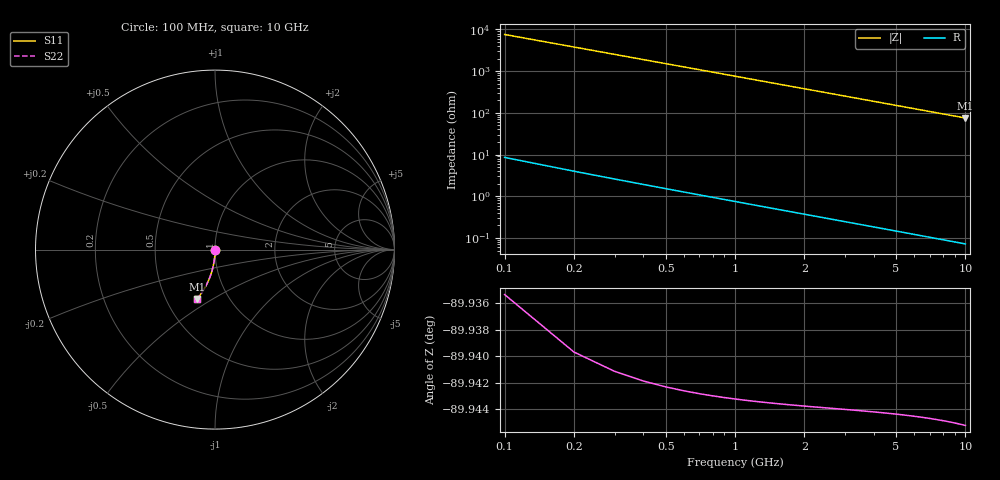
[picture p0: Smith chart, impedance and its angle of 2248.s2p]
# Hz S RI R 50.00
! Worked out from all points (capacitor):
!   100 points, 100 MHz to 10 GHz, reference 50 ohm
!   read as one part in shunt: C = 210 fF near 100 MHz
!   lowest |Z| = 75.4 ohm at 10 GHz (marker M1)
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1e8  6.35e-05 -0.00304  0.9999 -0.00355  0.9999 -0.00355  6.35e-05 -0.00304
2e8  2.84e-05 -0.00608  0.9999 -0.0071  0.9999 -0.0071  2.84e-05 -0.00608
3e8  -2.84e-05 -0.00912  0.9998 -0.0106  0.9998 -0.0106  -2.84e-05 -0.00912
4e8  -0.000107 -0.0122  0.9997 -0.0142  0.9997 -0.0142  -0.000107 -0.0122
5e8  -0.000207 -0.0152  0.9996 -0.0177  0.9996 -0.0177  -0.000207 -0.0152
6e8  -0.000329 -0.0182  0.9995 -0.0213  0.9995 -0.0213  -0.000329 -0.0182
7e8  -0.000472 -0.0213  0.9994 -0.0248  0.9994 -0.0248  -0.000472 -0.0213
8e8  -0.000637 -0.0243  0.9992 -0.0284  0.9992 -0.0284  -0.000637 -0.0243
9e8  -0.000823 -0.0274  0.999 -0.0319  0.999 -0.0319  -0.000823 -0.0274
1.1e9  -0.00126 -0.0334  0.9986 -0.039  0.9986 -0.039  -0.00126 -0.0334
1.4e9  -0.00208 -0.0425  0.9977 -0.0496  0.9977 -0.0496  -0.00208 -0.0425
1.8e9  -0.00347 -0.0546  0.9963 -0.0638  0.9963 -0.0638  -0.00347 -0.0546
2.1e9  -0.00474 -0.0636  0.995 -0.0743  0.995 -0.0743  -0.00474 -0.0636
2.5e9  -0.00673 -0.0756  0.993 -0.0884  0.993 -0.0884  -0.00673 -0.0756
2.9e9  -0.00905 -0.0876  0.9907 -0.1023  0.9907 -0.1023  -0.00905 -0.0876
3.4e9  -0.0124 -0.1023  0.9873 -0.1197  0.9873 -0.1197  -0.0124 -0.1023
4.2e9  -0.0189 -0.1257  0.9807 -0.1471  0.9807 -0.1471  -0.0189 -0.1257
5.1e9  -0.0277 -0.1513  0.9718 -0.1774  0.9718 -0.1774  -0.0277 -0.1513
5.9e9  -0.0368 -0.1735  0.9626 -0.2037  0.9626 -0.2037  -0.0368 -0.1735
6.7e9  -0.0471 -0.195  0.9521 -0.2293  0.9521 -0.2293  -0.0471 -0.195
8.4e9  -0.0724 -0.238  0.9265 -0.2813  0.9265 -0.2813  -0.0724 -0.238
1e10  -0.1001 -0.2748  0.8984 -0.3265  0.8984 -0.3265  -0.1001 -0.2748
